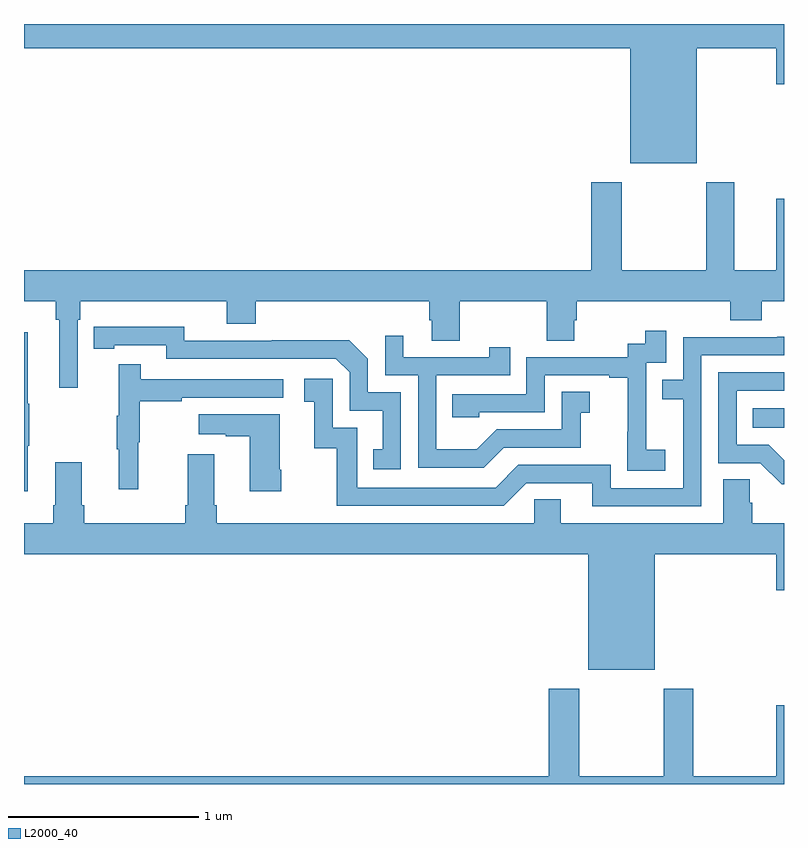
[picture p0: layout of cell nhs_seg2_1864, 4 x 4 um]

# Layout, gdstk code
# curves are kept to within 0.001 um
import gdstk
lib = gdstk.Library(unit=1e-6, precision=1e-09)
def R(c, l, rs):  # rectangles x0, y0, x1, y1
    for r in rs: c.add(gdstk.rectangle(r[:2], r[2:], *l))
def P(c, l, *ps):  # polygons
    for p in ps: c.add(gdstk.Polygon(p, *l))
L2000_40 = (2000, 40)

nhs_seg2_1864 = lib.new_cell('nhs_seg2_1864')
R(nhs_seg2_1864, L2000_40, [(212.836,609.674,213,609.778)])
P(nhs_seg2_1864, L2000_40, [(212.542,611.672),(212.96,611.672),(212.96,611.484),(213,611.484),(213,611.8),(209,611.8),(209,611.672),(212.192,611.672),(212.192,611.066),(212.542,611.066)],
  [(209.283,610.244),(209.297,610.244),(209.297,610.34),(210.068,610.34),(210.068,610.223),(210.221,610.223),(210.221,610.34),(211.133,610.34),(211.133,610.242),(211.145,610.242),(211.145,610.132),(211.293,610.132),(211.293,610.34),(211.75,610.34),(211.75,610.132),(211.897,610.132),(211.897,610.242),(211.91,610.242),(211.91,610.34),(212.717,610.34),(212.717,610.241),(212.882,610.241),(212.882,610.34),(213,610.34),(213,610.879),(212.96,610.879),(212.96,610.504),(212.737,610.504),(212.737,610.966),(212.59,610.966),(212.59,610.504),(212.145,610.504),(212.145,610.966),(211.985,610.966),(211.985,610.504),(209,610.504),(209,610.34),(209.167,610.34),(209.167,610.244),(209.186,610.244),(209.186,609.885),(209.283,609.885)],
  [(210.984,609.861),(210.81,609.861),(210.81,610.038),(210.712,610.136),(210.304,610.136),(210.304,610.134),(209.844,610.134),(209.844,610.207),(209.368,610.206),(209.368,610.09),(209.476,610.09),(209.476,610.11),(209.748,610.11),(209.748,610.038),(210.642,610.038),(210.714,609.966),(210.714,609.765),(210.887,609.765),(210.887,609.561),(210.838,609.561),(210.838,609.456),(210.984,609.456)],
  [(212.374,609.559),(212.276,609.559),(212.276,609.788),(212.274,609.788),(212.274,610.017),(212.379,610.017),(212.379,610.186),(212.271,610.186),(212.271,610.116),(212.178,610.116),(212.178,610.047),(211.644,610.047),(211.644,609.852),(211.255,609.852),(211.255,609.729),(211.395,609.729),(211.395,609.756),(211.74,609.756),(211.74,609.951),(212.081,609.951),(212.081,609.939),(212.177,609.939),(212.177,609.655),(212.176,609.655),(212.176,609.449),(212.374,609.449)],
  [(209.02,609.58),(209.028,609.58),(209.028,609.801),(209.02,609.801),(209.02,610.177),(209,610.177),(209,609.342),(209.02,609.342)],
  [(211.525,609.57),(211.929,609.57),(211.929,609.755),(211.978,609.755),(211.978,609.865),(211.83,609.865),(211.83,609.666),(211.488,609.666),(211.384,609.562),(211.17,609.562),(211.17,609.951),(211.559,609.951),(211.559,610.099),(211.448,610.099),(211.448,610.047),(210.997,610.047),(210.997,610.159),(210.9,610.159),(210.9,609.951),(211.074,609.951),(211.074,609.465),(211.42,609.465)],
  [(212.565,610.056),(213,610.056),(213,610.154),(212.965,610.154),(212.965,610.152),(212.469,610.152),(212.469,609.927),(212.359,609.927),(212.359,609.826),(212.469,609.826),(212.469,609.357),(212.088,609.357),(212.088,609.48),(211.602,609.48),(211.482,609.36),(210.753,609.36),(210.753,609.675),(210.624,609.675),(210.624,609.934),(210.474,609.934),(210.474,609.813),(210.527,609.813),(210.527,609.567),(210.645,609.567),(210.645,609.264),(211.524,609.264),(211.644,609.384),(211.991,609.384),(211.991,609.261),(212.565,609.261)],
  [(209.6,609.6),(209.608,609.6),(209.608,609.814),(209.831,609.814),(209.831,609.834),(210.364,609.834),(210.364,609.93),(209.615,609.93),(209.615,610.009),(209.498,610.009),(209.498,609.737),(209.487,609.737),(209.487,609.563),(209.498,609.563),(209.498,609.351),(209.6,609.351)],
  [(213,609.505),(212.92,609.585),(212.751,609.585),(212.751,609.87),(213,609.87),(213,609.966),(212.655,609.966),(212.655,609.489),(212.874,609.489),(212.987,609.377),(213,609.377)],
  [(210.354,609.454),(210.346,609.454),(210.346,609.745),(209.919,609.745),(209.919,609.641),(210.062,609.641),(210.062,609.631),(210.188,609.631),(210.188,609.342),(210.354,609.342)],
  [(212.32,609.008),(212.96,609.008),(212.96,608.82),(213,608.82),(213,609.172),(212.834,609.172),(212.834,609.281),(212.82,609.281),(212.82,609.404),(212.681,609.404),(212.681,609.172),(211.825,609.172),(211.825,609.299),(211.686,609.299),(211.686,609.172),(210.014,609.172),(210.014,609.268),(210.001,609.268),(210.001,609.535),(209.861,609.535),(209.861,609.268),(209.849,609.268),(209.849,609.172),(209.318,609.172),(209.318,609.268),(209.305,609.268),(209.305,609.493),(209.165,609.493),(209.165,609.268),(209.153,609.268),(209.153,609.172),(209,609.172),(209,609.008),(211.97,609.008),(211.97,608.402),(212.32,608.402)],
  [(213,608.215),(212.96,608.215),(212.96,607.84),(212.523,607.84),(212.523,608.302),(212.368,608.302),(212.368,607.84),(211.923,607.84),(211.923,608.302),(211.763,608.302),(211.763,607.84),(209,607.84),(209,607.8),(213,607.8)])

lib.write_gds('nhs_seg2_1864.gds')
